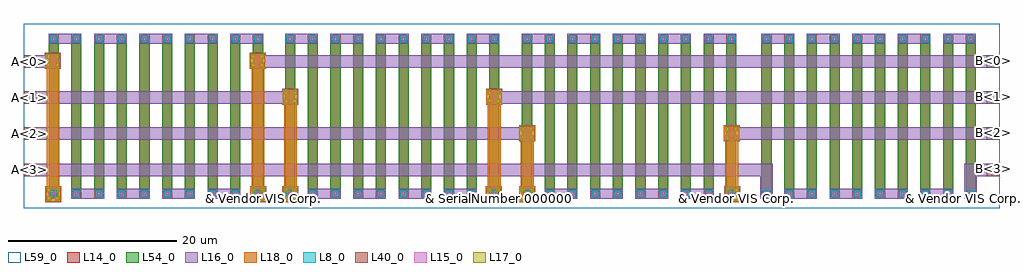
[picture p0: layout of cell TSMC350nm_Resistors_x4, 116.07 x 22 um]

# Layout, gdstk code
import gdstk
lib = gdstk.Library(unit=1e-6, precision=1e-09)
def R(c, l, rs):  # rectangles x0, y0, x1, y1
    for r in rs: c.add(gdstk.rectangle(r[:2], r[2:], *l))
def A(c, l, x, y, w, h, nx, ny, dx, dy):  # array of equal rectangles
    R(c, l, [(x+i*dx, y+j*dy, x+i*dx+w, y+j*dy+h) for i in range(nx) for j in range(ny)])
L8_0 = (8, 0)
L14_0 = (14, 0)
L15_0 = (15, 0)
L16_0 = (16, 0)
L17_0 = (17, 0)
L18_0 = (18, 0)
L40_0 = (40, 0)
L54_0 = (54, 0)
L59_0 = (59, 0)

m2_m1_cdns_746573622830 = lib.new_cell('M2_M1_CDNS_746573622830')
R(m2_m1_cdns_746573622830, L16_0, [(-0.95,-0.95,0.95,0.95)])
R(m2_m1_cdns_746573622830, L17_0, [(-0.75,-0.75,-0.25,-0.25), (0.25,-0.75,0.75,-0.25), (-0.75,0.25,-0.25,0.75), (0.25,0.25,0.75,0.75)])
R(m2_m1_cdns_746573622830, L18_0, [(-0.9,-0.9,0.9,0.9)])

tsmc350nm_resistors_x4 = lib.new_cell('TSMC350nm_Resistors_x4')
A(tsmc350nm_resistors_x4, L8_0, 3.16, 1.34, 0.86, 0.86, 10, 2, 2.7, 18.4)
A(tsmc350nm_resistors_x4, L8_0, 31.27, 1.34, 0.86, 0.86, 10, 2, 2.7, 18.4)
A(tsmc350nm_resistors_x4, L8_0, 59.45, 1.34, 0.86, 0.86, 10, 2, 2.7, 18.4)
A(tsmc350nm_resistors_x4, L8_0, 87.93, 1.34, 0.86, 0.86, 10, 2, 2.7, 18.4)
A(tsmc350nm_resistors_x4, L14_0, 2.99, 1.17, 1.2, 19.6, 10, 1, 2.7, 0)
A(tsmc350nm_resistors_x4, L14_0, 31.1, 1.17, 1.2, 19.6, 10, 1, 2.7, 0)
A(tsmc350nm_resistors_x4, L14_0, 59.28, 1.17, 1.2, 19.6, 10, 1, 2.7, 0)
A(tsmc350nm_resistors_x4, L14_0, 87.76, 1.17, 1.2, 19.6, 10, 1, 2.7, 0)
A(tsmc350nm_resistors_x4, L15_0, 3.39, 1.57, 0.4, 0.4, 10, 2, 2.7, 18.4)
A(tsmc350nm_resistors_x4, L15_0, 31.5, 1.57, 0.4, 0.4, 10, 2, 2.7, 18.4)
A(tsmc350nm_resistors_x4, L15_0, 59.68, 1.57, 0.4, 0.4, 10, 2, 2.7, 18.4)
A(tsmc350nm_resistors_x4, L15_0, 88.16, 1.57, 0.4, 0.4, 10, 2, 2.7, 18.4)
A(tsmc350nm_resistors_x4, L16_0, 2.99, 1.17, 1.2, 1.2, 10, 2, 2.7, 18.4)
A(tsmc350nm_resistors_x4, L16_0, 6.89, 1.17, 1.5, 1.2, 4, 1, 5.4, 0)
A(tsmc350nm_resistors_x4, L16_0, 31.1, 1.17, 1.2, 1.2, 10, 2, 2.7, 18.4)
A(tsmc350nm_resistors_x4, L16_0, 35, 1.17, 1.5, 1.2, 4, 1, 5.4, 0)
A(tsmc350nm_resistors_x4, L16_0, 59.28, 1.17, 1.2, 1.2, 10, 2, 2.7, 18.4)
A(tsmc350nm_resistors_x4, L16_0, 63.18, 1.17, 1.5, 1.2, 4, 1, 5.4, 0)
A(tsmc350nm_resistors_x4, L16_0, 87.76, 1.17, 1.2, 1.2, 10, 2, 2.7, 18.4)
A(tsmc350nm_resistors_x4, L16_0, 91.66, 1.17, 1.5, 1.2, 4, 1, 5.4, 0)
A(tsmc350nm_resistors_x4, L16_0, 4.19, 19.57, 1.5, 1.2, 5, 1, 5.4, 0)
A(tsmc350nm_resistors_x4, L16_0, 32.3, 19.57, 1.5, 1.2, 5, 1, 5.4, 0)
A(tsmc350nm_resistors_x4, L16_0, 60.48, 19.57, 1.5, 1.2, 5, 1, 5.4, 0)
A(tsmc350nm_resistors_x4, L16_0, 88.96, 19.57, 1.5, 1.2, 5, 1, 5.4, 0)
R(tsmc350nm_resistors_x4, L16_0, [(87.59,1.13,89.09,4.81), (111.89,1.13,113.39,4.81)])
A(tsmc350nm_resistors_x4, L40_0, 0, 3.85, 1.51, 1.5, 1, 4, 0, 4.3)
A(tsmc350nm_resistors_x4, L40_0, 114.57, 3.85, 1.5, 1.5, 1, 4, 0, 4.3)
A(tsmc350nm_resistors_x4, L54_0, 2.99, 1.97, 1.2, 18, 10, 1, 2.7, 0)
A(tsmc350nm_resistors_x4, L54_0, 31.1, 1.97, 1.2, 18, 10, 1, 2.7, 0)
A(tsmc350nm_resistors_x4, L54_0, 59.28, 1.97, 1.2, 18, 10, 1, 2.7, 0)
A(tsmc350nm_resistors_x4, L54_0, 87.76, 1.97, 1.2, 18, 10, 1, 2.7, 0)
R(tsmc350nm_resistors_x4, L59_0, [(0,0,116.07,22)])
tsmc350nm_resistors_x4.add(gdstk.FlexPath([(84.23,1.71),(84.23,9.48)], 1.5, ends="flush", simple_path=True, layer=18, datatype=0))  # L18_0
tsmc350nm_resistors_x4.add(gdstk.FlexPath([(59.91,1.71),(59.91,9.48)], 1.5, ends="flush", simple_path=True, layer=18, datatype=0))  # L18_0
tsmc350nm_resistors_x4.add(gdstk.FlexPath([(55.98,1.71),(55.98,13.13)], 1.5, ends="flush", simple_path=True, layer=18, datatype=0))  # L18_0
tsmc350nm_resistors_x4.add(gdstk.FlexPath([(31.75,1.71),(31.75,13.13)], 1.5, ends="flush", simple_path=True, layer=18, datatype=0))  # L18_0
tsmc350nm_resistors_x4.add(gdstk.FlexPath([(3.53,1.71),(3.53,18.25)], 1.5, ends="flush", simple_path=True, layer=18, datatype=0))  # L18_0
tsmc350nm_resistors_x4.add(gdstk.FlexPath([(27.89,1.71),(27.89,18.25)], 1.5, ends="flush", simple_path=True, layer=18, datatype=0))  # L18_0
tsmc350nm_resistors_x4.add(gdstk.FlexPath([(3.53,1.71),(3.53,18.25)], 1.5, ends="flush", simple_path=True, layer=18, datatype=0))  # L18_0
tsmc350nm_resistors_x4.add(gdstk.FlexPath([(111.89,4.59),(116.07,4.59)], 1.5, ends="flush", simple_path=True, layer=16, datatype=0))  # L16_0
tsmc350nm_resistors_x4.add(gdstk.FlexPath([(83.56,8.9),(116.07,8.9)], 1.5, ends="flush", simple_path=True, layer=16, datatype=0))  # L16_0
tsmc350nm_resistors_x4.add(gdstk.FlexPath([(55.36,13.2),(116.07,13.2)], 1.5, ends="flush", simple_path=True, layer=16, datatype=0))  # L16_0
tsmc350nm_resistors_x4.add(gdstk.FlexPath([(27.17,17.5),(116.07,17.5)], 1.5, ends="flush", simple_path=True, layer=16, datatype=0))  # L16_0
tsmc350nm_resistors_x4.add(gdstk.FlexPath([(0,4.59),(89.09,4.59)], 1.5, ends="flush", simple_path=True, layer=16, datatype=0))  # L16_0
tsmc350nm_resistors_x4.add(gdstk.FlexPath([(0,8.9),(60.36,8.9)], 1.5, ends="flush", simple_path=True, layer=16, datatype=0))  # L16_0
tsmc350nm_resistors_x4.add(gdstk.FlexPath([(0,13.2),(32.07,13.2)], 1.5, ends="flush", simple_path=True, layer=16, datatype=0))  # L16_0
tsmc350nm_resistors_x4.add(gdstk.FlexPath([(0,17.5),(3.86,17.5)], 1.5, ends="flush", simple_path=True, layer=16, datatype=0))  # L16_0
tsmc350nm_resistors_x4.add(gdstk.Reference(m2_m1_cdns_746573622830, (84.2,8.95)))
tsmc350nm_resistors_x4.add(gdstk.Reference(m2_m1_cdns_746573622830, (84.27,1.71)))
tsmc350nm_resistors_x4.add(gdstk.Reference(m2_m1_cdns_746573622830, (59.88,8.95)))
tsmc350nm_resistors_x4.add(gdstk.Reference(m2_m1_cdns_746573622830, (59.88,1.71)))
tsmc350nm_resistors_x4.add(gdstk.Reference(m2_m1_cdns_746573622830, (55.96,13.28)))
tsmc350nm_resistors_x4.add(gdstk.Reference(m2_m1_cdns_746573622830, (55.94,1.71)))
tsmc350nm_resistors_x4.add(gdstk.Reference(m2_m1_cdns_746573622830, (31.73,13.28)))
tsmc350nm_resistors_x4.add(gdstk.Reference(m2_m1_cdns_746573622830, (31.71,1.71)))
tsmc350nm_resistors_x4.add(gdstk.Reference(m2_m1_cdns_746573622830, (27.86,17.57)))
tsmc350nm_resistors_x4.add(gdstk.Reference(m2_m1_cdns_746573622830, (27.89,1.71)))
tsmc350nm_resistors_x4.add(gdstk.Reference(m2_m1_cdns_746573622830, (3.5,17.57)))
tsmc350nm_resistors_x4.add(gdstk.Reference(m2_m1_cdns_746573622830, (3.53,1.71)))
tsmc350nm_resistors_x4.add(gdstk.Label('& Vendor VIS Corp.', (113.26,1.17), layer=16, texttype=0))
tsmc350nm_resistors_x4.add(gdstk.Label('& PDKName      vis35cv', (113.26,1.17), layer=16, texttype=0))
tsmc350nm_resistors_x4.add(gdstk.Label('& Version      1.7A', (113.26,1.17), layer=16, texttype=0))
tsmc350nm_resistors_x4.add(gdstk.Label('& Metric 1', (113.26,1.17), layer=16, texttype=0))
tsmc350nm_resistors_x4.add(gdstk.Label('& Distributor VIS Corp.', (113.26,1.17), layer=16, texttype=0))
tsmc350nm_resistors_x4.add(gdstk.Label('& SerialNumber 000000', (113.26,1.17), layer=16, texttype=0))
tsmc350nm_resistors_x4.add(gdstk.Label('& Vendor VIS Corp.', (84.78,1.17), layer=16, texttype=0))
tsmc350nm_resistors_x4.add(gdstk.Label('& PDKName      vis35cv', (84.78,1.17), layer=16, texttype=0))
tsmc350nm_resistors_x4.add(gdstk.Label('& Version      1.7A', (84.78,1.17), layer=16, texttype=0))
tsmc350nm_resistors_x4.add(gdstk.Label('& Metric 1', (84.78,1.17), layer=16, texttype=0))
tsmc350nm_resistors_x4.add(gdstk.Label('& Distributor VIS Corp.', (84.78,1.17), layer=16, texttype=0))
tsmc350nm_resistors_x4.add(gdstk.Label('& SerialNumber 000000', (84.78,1.17), layer=16, texttype=0))
tsmc350nm_resistors_x4.add(gdstk.Label('& Vendor VIS Corp.', (28.49,1.17), layer=16, texttype=0))
tsmc350nm_resistors_x4.add(gdstk.Label('& PDKName      vis35cv', (28.49,1.17), layer=16, texttype=0))
tsmc350nm_resistors_x4.add(gdstk.Label('& Version      1.7A', (28.49,1.17), layer=16, texttype=0))
tsmc350nm_resistors_x4.add(gdstk.Label('& Metric 1', (28.49,1.17), layer=16, texttype=0))
tsmc350nm_resistors_x4.add(gdstk.Label('& Distributor VIS Corp.', (28.49,1.17), layer=16, texttype=0))
tsmc350nm_resistors_x4.add(gdstk.Label('& SerialNumber 000000', (28.49,1.17), layer=16, texttype=0))
tsmc350nm_resistors_x4.add(gdstk.Label('& SerialNumber 000000', (56.6,1.17), layer=16, texttype=0))
tsmc350nm_resistors_x4.add(gdstk.Label('& Distributor VIS Corp.', (56.6,1.17), layer=16, texttype=0))
tsmc350nm_resistors_x4.add(gdstk.Label('& Metric 1', (56.6,1.17), layer=16, texttype=0))
tsmc350nm_resistors_x4.add(gdstk.Label('& Vendor VIS Corp.', (56.6,1.17), layer=16, texttype=0))
tsmc350nm_resistors_x4.add(gdstk.Label('& Version      1.7A', (56.6,1.17), layer=16, texttype=0))
tsmc350nm_resistors_x4.add(gdstk.Label('& PDKName      vis35cv', (56.6,1.17), layer=16, texttype=0))
tsmc350nm_resistors_x4.add(gdstk.Label('& SerialNumber 000000', (113.26,1.17), layer=63, texttype=63))
tsmc350nm_resistors_x4.add(gdstk.Label('& Distributor VIS Corp.', (113.26,1.17), layer=63, texttype=63))
tsmc350nm_resistors_x4.add(gdstk.Label('& Metric 1', (113.26,1.17), layer=63, texttype=63))
tsmc350nm_resistors_x4.add(gdstk.Label('& Version      1.7A', (113.26,1.17), layer=63, texttype=63))
tsmc350nm_resistors_x4.add(gdstk.Label('& PDKName      vis35cv', (113.26,1.17), layer=63, texttype=63))
tsmc350nm_resistors_x4.add(gdstk.Label('& Vendor VIS Corp.', (113.26,1.17), layer=63, texttype=63))
tsmc350nm_resistors_x4.add(gdstk.Label('& SerialNumber 000000', (84.78,1.17), layer=63, texttype=63))
tsmc350nm_resistors_x4.add(gdstk.Label('& Distributor VIS Corp.', (84.78,1.17), layer=63, texttype=63))
tsmc350nm_resistors_x4.add(gdstk.Label('& Metric 1', (84.78,1.17), layer=63, texttype=63))
tsmc350nm_resistors_x4.add(gdstk.Label('& Version      1.7A', (84.78,1.17), layer=63, texttype=63))
tsmc350nm_resistors_x4.add(gdstk.Label('& PDKName      vis35cv', (84.78,1.17), layer=63, texttype=63))
tsmc350nm_resistors_x4.add(gdstk.Label('& Vendor VIS Corp.', (84.78,1.17), layer=63, texttype=63))
tsmc350nm_resistors_x4.add(gdstk.Label('& Vendor VIS Corp.', (28.49,1.17), layer=63, texttype=63))
tsmc350nm_resistors_x4.add(gdstk.Label('& PDKName      vis35cv', (28.49,1.17), layer=63, texttype=63))
tsmc350nm_resistors_x4.add(gdstk.Label('& Version      1.7A', (28.49,1.17), layer=63, texttype=63))
tsmc350nm_resistors_x4.add(gdstk.Label('& Metric 1', (28.49,1.17), layer=63, texttype=63))
tsmc350nm_resistors_x4.add(gdstk.Label('& Distributor VIS Corp.', (28.49,1.17), layer=63, texttype=63))
tsmc350nm_resistors_x4.add(gdstk.Label('& SerialNumber 000000', (28.49,1.17), layer=63, texttype=63))
tsmc350nm_resistors_x4.add(gdstk.Label('& Vendor VIS Corp.', (56.6,1.17), layer=63, texttype=63))
tsmc350nm_resistors_x4.add(gdstk.Label('& PDKName      vis35cv', (56.6,1.17), layer=63, texttype=63))
tsmc350nm_resistors_x4.add(gdstk.Label('& Version      1.7A', (56.6,1.17), layer=63, texttype=63))
tsmc350nm_resistors_x4.add(gdstk.Label('& Metric 1', (56.6,1.17), layer=63, texttype=63))
tsmc350nm_resistors_x4.add(gdstk.Label('& Distributor VIS Corp.', (56.6,1.17), layer=63, texttype=63))
tsmc350nm_resistors_x4.add(gdstk.Label('& SerialNumber 000000', (56.6,1.17), layer=63, texttype=63))
tsmc350nm_resistors_x4.add(gdstk.Label('B<3>', (115.31,4.7), layer=40, texttype=0))
tsmc350nm_resistors_x4.add(gdstk.Label('B<2>', (115.31,9), layer=40, texttype=0))
tsmc350nm_resistors_x4.add(gdstk.Label('B<1>', (115.31,13.3), layer=40, texttype=0))
tsmc350nm_resistors_x4.add(gdstk.Label('B<0>', (115.31,17.6), layer=40, texttype=0))
tsmc350nm_resistors_x4.add(gdstk.Label('A<3>', (0.69,4.61), layer=40, texttype=0))
tsmc350nm_resistors_x4.add(gdstk.Label('A<2>', (0.69,8.91), layer=40, texttype=0))
tsmc350nm_resistors_x4.add(gdstk.Label('A<1>', (0.69,13.21), layer=40, texttype=0))
tsmc350nm_resistors_x4.add(gdstk.Label('A<0>', (0.69,17.51), layer=40, texttype=0))

lib.write_gds('TSMC350nm_Resistors_x4.gds')
